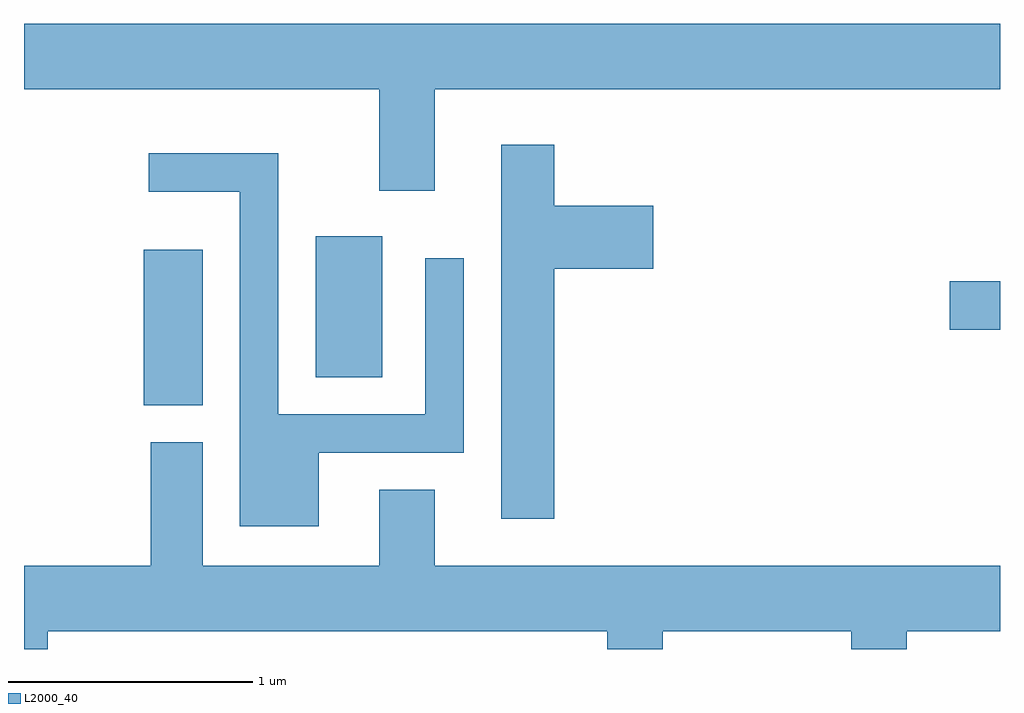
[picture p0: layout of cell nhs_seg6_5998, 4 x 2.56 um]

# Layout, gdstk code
import gdstk
lib = gdstk.Library(unit=1e-6, precision=1e-09)
def R(c, l, rs):  # rectangles x0, y0, x1, y1
    for r in rs: c.add(gdstk.rectangle(r[:2], r[2:], *l))
def P(c, l, *ps):  # polygons
    for p in ps: c.add(gdstk.Polygon(p, *l))
L2000_40 = (2000, 40)

nhs_seg6_5998 = lib.new_cell('nhs_seg6_5998')
R(nhs_seg6_5998, L2000_40, [(368.101,1573.161,368.344,1573.799), (368.806,1573.276,369.079,1573.854), (371.406,1573.471,371.611,1573.669)])
P(nhs_seg6_5998, L2000_40, [(369.294,1574.456),(371.611,1574.456),(371.611,1574.724),(367.611,1574.724),(367.611,1574.456),(369.066,1574.456),(369.066,1574.041),(369.294,1574.041)],
  [(369.784,1573.721),(370.189,1573.721),(370.189,1573.979),(369.784,1573.979),(369.784,1574.229),(369.566,1574.229),(369.566,1572.696),(369.784,1572.696)],
  [(368.819,1572.966),(369.414,1572.966),(369.414,1573.763),(369.256,1573.763),(369.256,1573.124),(368.654,1573.124),(368.654,1574.194),(368.123,1574.194),(368.123,1574.036),(368.496,1574.036),(368.496,1572.666),(368.819,1572.666)],
  [(367.709,1572.236),(370.001,1572.236),(370.001,1572.162),(370.229,1572.162),(370.229,1572.236),(371.001,1572.236),(371.001,1572.162),(371.229,1572.162),(371.229,1572.236),(371.611,1572.236),(371.611,1572.504),(369.294,1572.504),(369.294,1572.814),(369.066,1572.814),(369.066,1572.504),(368.344,1572.504),(368.344,1573.009),(368.131,1573.009),(368.131,1572.504),(367.611,1572.504),(367.611,1572.162),(367.709,1572.162)])

lib.write_gds('nhs_seg6_5998.gds')
